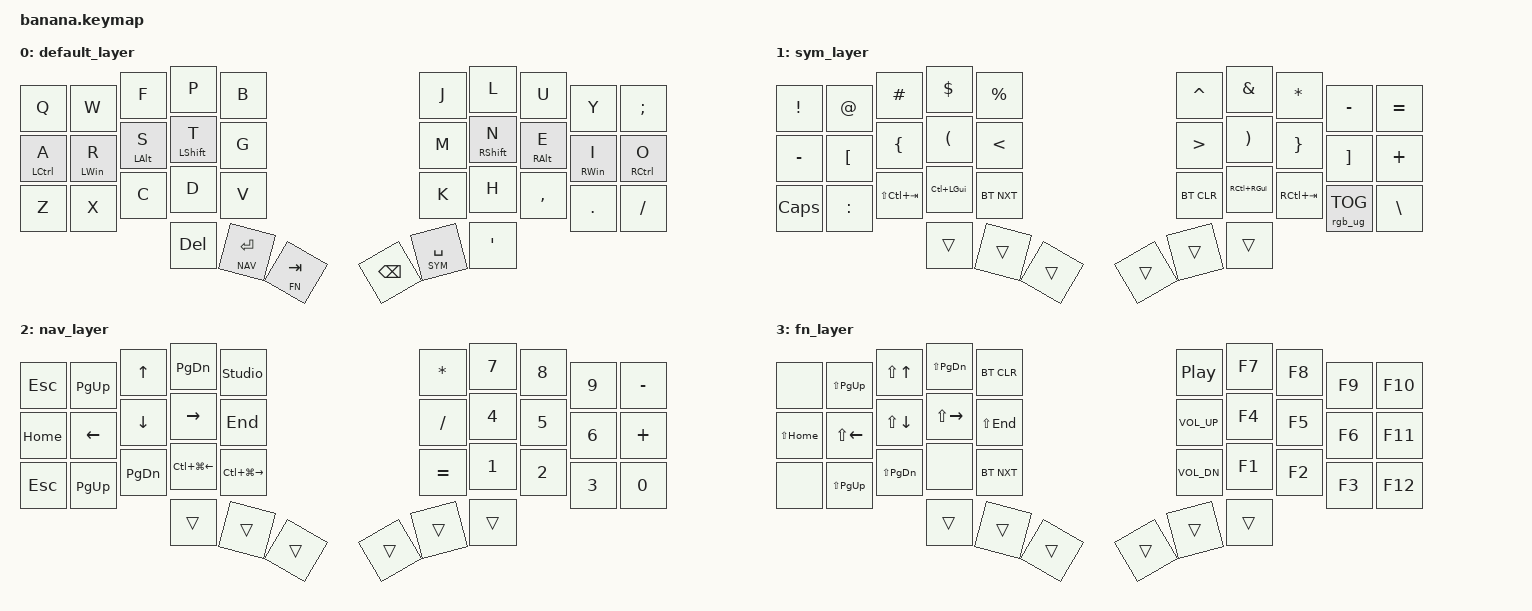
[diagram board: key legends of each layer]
#include <behaviors.dtsi>
#include <dt-bindings/zmk/keys.h>
#include <dt-bindings/zmk/bt.h>
#include <dt-bindings/zmk/rgb.h>
#define SYM 1
#define NAV 2
#define FN 3

/ {
    keymap {
        compatible = "zmk,keymap";

        default_layer {
            // Layer 0: Base keys
            //
            // ,-----.-----.-----.-----.-----.    ,-----.-----.-----.-----.-----.
            // | Q   | W   | F   | P   | B   |    | J   | L   | U   | Y   | ;   |
            // |-----+-----+-----+-----+-----|    |-----+-----+-----+-----+-----|
            // | A   | R   | S   | T   | G   |    | M   | N   | E   | I   | O   |
            // |-----+-----+-----+-----+-----|    |-----+-----+-----+-----+-----|
            // | Z   | X   | C   | D   | V   |    | K   | H   | ,   | .   | /   |
            // `-----'-----'-----'-----'-----'    `-----'-----'-----'-----'-----'
            //        .-------.-------.-------.  .-------.-------.-------.   
            //        | DEL   | ENTER | TAB   |  | BKSP  | SPACE | '     |
            //        |       | NAV   | FN    |  |       | SYM   |       |
            //        '-------'-------'-------'  '-------'-------'-------'
            bindings = <
                &kp Q     &kp W       &kp F       &kp P       &kp B           &kp J       &kp L       &kp U       &kp Y       &kp SEMI
                &mt LCTRL A &mt LWIN R  &mt LALT S  &mt LSHFT T &kp G           &kp M       &mt RSHFT N &mt RALT E  &mt RWIN I  &mt RCTRL O
                &kp Z       &kp X       &kp C       &kp D       &kp V           &kp K       &kp H       &kp COMMA   &kp DOT     &kp FSLH
                            &kp DEL     &lt NAV ENTER &lt FN TAB                &kp BSPC    &lt SYM SPACE &kp SQT
            >;
        };

        sym_layer {
            // Layer 1: Symbols
            //
            // ,-----.-----.-----.-----.-----.    ,-----.-----.-----.-----.-----.
            // | !   | @   | #   | $   | %   |    | ^   | &   | *   | -   | =   |
            // |-----+-----+-----+-----+-----|    |-----+-----+-----+-----+-----|
            // | -   | [   | {   | (   | <   |    | >   | )   | }   | ]   | +   |
            // |-----+-----+-----+-----+-----|    |-----+-----+-----+-----+-----|
            // |CAPS | :   |C-S-T|C-WIN|     |    |     |C-WIN|C-TAB|     | \   |
            // `-----'-----'-----'-----'-----'    `-----'-----'-----'-----'-----'
            //        .-------.-------.-------.  .-------.-------.-------. 
            //        |       |       |       |  |       |       |       |
            //        '-------'-------'-------'  '-------'-------'-------'
            bindings = <
                &kp EXCL    &kp AT      &kp HASH        &kp DLLR     &kp PRCNT       &kp CARET   &kp AMPS     &kp ASTRK   &kp MINUS   &kp EQUAL   
                &kp MINUS   &kp LBKT    &kp LBRC        &kp LPAR     &kp LT          &kp GT      &kp RPAR     &kp RBRC    &kp RBKT    &kp PLUS
                &kp CAPS    &kp COLON   &kp LS(LC(TAB)) &kp LC(LGUI) &bt BT_NXT      &bt BT_CLR  &kp RC(RGUI) &kp RC(TAB) &rgb_ug RGB_TOG &kp BSLH
                                        &trans      &trans      &trans               &trans      &trans      &trans
            >;
        };

        nav_layer {
            // Layer 2: Navigation
            //
            // ,-----.-----.-----.-----.-----.    ,-----.-----.-----.-----.-----.
            // | ESC | PGUP| UP  | PGDN|     |    | *   | 7   | 8   | 9   | -   |
            // |-----+-----+-----+-----+-----|    |-----+-----+-----+-----+-----|
            // | HOME| LEFT| DOWN|RIGHT| END |    | /   | 4   | 5   | 6   | +   |
            // |-----+-----+-----+-----+-----|    |-----+-----+-----+-----+-----|
            // | ESC | PGUP| PGDN|C-WINL|C-WINR|  | =   | 1   | 2   | 3   | 0   |
            // `-----'-----'-----'-----'-----'    `-----'-----'-----'-----'-----'
            //        .-------.-------.-------.  .-------.-------.-------.   
            //        |       |       |       |  |       |       |       |
            //        '-------'-------'-------'  '-------'-------'-------'
            bindings = <
                &kp ESC     &kp PG_UP   &kp UP      &kp PG_DN          &studio_unlock       &kp ASTRK   &kp N7      &kp N8      &kp N9      &kp MINUS
                &kp HOME    &kp LEFT    &kp DOWN    &kp RIGHT          &kp END              &kp FSLH    &kp N4      &kp N5      &kp N6      &kp PLUS
                &kp ESC     &kp PG_UP   &kp PG_DN   &kp LC(LG(LEFT))   &kp LC(LG(RIGHT))    &kp EQUAL   &kp N1      &kp N2      &kp N3      &kp N0
                            &trans      &trans      &trans                                  &trans      &trans      &trans
            >;
        };

        fn_layer {
            // Layer 3: Function keys
            //
            // ,-----.-----.-----.-----.-----.    ,-----.-----.-----.-----.-----.
            // |     |S-PUP| S-↑ |S-PDN|     |    | ▶   | F7  | F8  | F9  | F10 |
            // |-----+-----+-----+-----+-----|    |-----+-----+-----+-----+-----|
            // |S-HOM| S-← | S-↓ | S-→ |S-END|    | 🔇  | F4  | F5  | F6  | F11 |
            // |-----+-----+-----+-----+-----|    |-----+-----+-----+-----+-----|
            // |     |S-PUP|S-PDN|     |     |    | 🔇  | F1  | F2  | F3  | F12 |
            // `-----'-----'-----'-----'-----'    `-----'-----'-----'-----'-----'
            //        .-------.-------.-------.  .-------.-------.-------.   
            //        |       |       |       |  |       |       |       |
            //        '-------'-------'-------'  '-------'-------'-------'
            bindings = <
                &none        &kp LS(PG_UP) &kp LS(UP)    &kp LS(PG_DN) &bt BT_CLR       &kp C_PP      &kp F7      &kp F8      &kp F9      &kp F10
                &kp LS(HOME) &kp LS(LEFT)  &kp LS(DOWN)  &kp LS(RIGHT) &kp LS(END)      &kp C_VOL_UP  &kp F4      &kp F5      &kp F6      &kp F11
                &none        &kp LS(PG_UP) &kp LS(PG_DN) &none         &bt BT_NXT       &kp C_VOL_DN  &kp F1      &kp F2      &kp F3      &kp F12
                             &trans        &trans        &trans                         &trans        &trans      &trans
            >;
        };
    };
};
